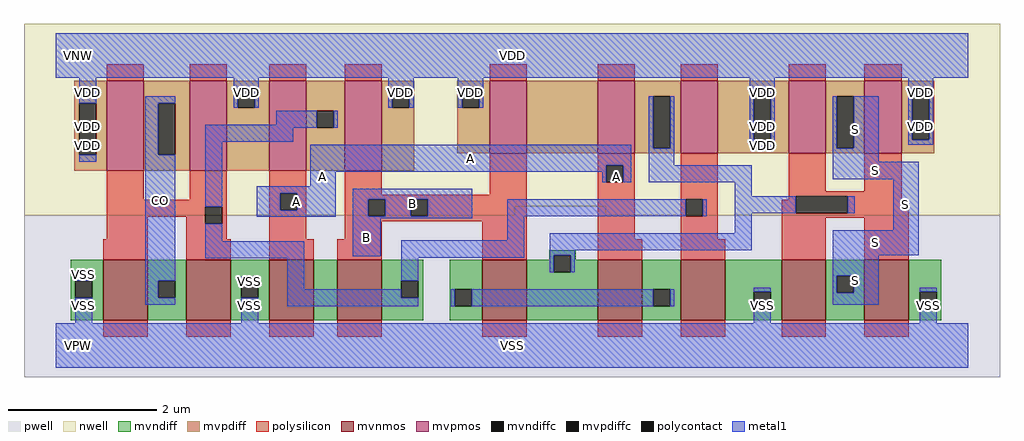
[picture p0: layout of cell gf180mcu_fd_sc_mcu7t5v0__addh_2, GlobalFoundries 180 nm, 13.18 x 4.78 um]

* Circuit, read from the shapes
.subckt gf180mcu_fd_sc_mcu7t5v0__addh_2 A B CO S VDD VNW VPW VSS
XM1 CO n1 VSS VPW nfet_06v0 w=0.815u l=0.6u m=2
XM2 n2 A VSS VPW nfet_06v0 w=0.815u l=0.6u
XM3 n1 B n2 VPW nfet_06v0 w=0.815u l=0.6u
XM4 n3 B n4 VPW nfet_06v0 w=0.815u l=0.6u
XM5 n4 A n3 VPW nfet_06v0 w=0.815u l=0.6u
XM6 VSS n1 n4 VPW nfet_06v0 w=0.815u l=0.6u
XM7 S n3 VSS VPW nfet_06v0 w=0.815u l=0.6u m=2
XM8 CO n1 VDD VNW pfet_06v0 w=1.215u l=0.5u m=2
XM9 n1 A VDD VNW pfet_06v0 w=1.215u l=0.5u
XM10 VDD B n1 VNW pfet_06v0 w=1.215u l=0.5u
XM11 n5 B VDD VNW pfet_06v0 w=0.975u l=0.5u
XM12 n3 A n5 VNW pfet_06v0 w=0.975u l=0.5u
XM13 VDD n1 n3 VNW pfet_06v0 w=0.975u l=0.5u
XM14 S n3 VDD VNW pfet_06v0 w=0.975u l=0.5u m=2
.ends

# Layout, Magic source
magic
tech gf180mcuD
magscale 1 10
<< nwell >>
rect -86 377 2550 870
rect -86 352 1240 377
rect 1485 352 2550 377
<< pwell >>
rect 1240 352 1485 377
rect -86 -86 2550 352
<< mvnmos >>
rect 128 69 248 232
rect 352 69 472 232
rect 576 69 696 232
rect 760 69 880 232
rect 1152 69 1272 232
rect 1464 69 1584 232
rect 1688 69 1808 232
rect 1960 69 2080 232
rect 2184 69 2304 232
<< mvpmos >>
rect 138 472 238 715
rect 362 472 462 715
rect 576 472 676 715
rect 780 472 880 715
rect 1172 520 1272 715
rect 1464 520 1564 715
rect 1688 520 1788 715
rect 1980 520 2080 715
rect 2184 520 2284 715
<< mvndiff >>
rect 1332 244 1404 257
rect 1332 232 1345 244
rect 40 175 128 232
rect 40 129 53 175
rect 99 129 128 175
rect 40 69 128 129
rect 248 175 352 232
rect 248 129 277 175
rect 323 129 352 175
rect 248 69 352 129
rect 472 175 576 232
rect 472 129 501 175
rect 547 129 576 175
rect 472 69 576 129
rect 696 69 760 232
rect 880 175 992 232
rect 880 129 933 175
rect 979 129 992 175
rect 880 69 992 129
rect 1064 152 1152 232
rect 1064 106 1077 152
rect 1123 106 1152 152
rect 1064 69 1152 106
rect 1272 198 1345 232
rect 1391 232 1404 244
rect 1391 198 1464 232
rect 1272 69 1464 198
rect 1584 152 1688 232
rect 1584 106 1613 152
rect 1659 106 1688 152
rect 1584 69 1688 106
rect 1808 145 1960 232
rect 1808 99 1885 145
rect 1931 99 1960 145
rect 1808 69 1960 99
rect 2080 189 2184 232
rect 2080 143 2109 189
rect 2155 143 2184 189
rect 2080 69 2184 143
rect 2304 145 2392 232
rect 2304 99 2333 145
rect 2379 99 2392 145
rect 2304 69 2392 99
<< mvpdiff >>
rect 50 655 138 715
rect 50 515 63 655
rect 109 515 138 655
rect 50 472 138 515
rect 238 655 362 715
rect 238 515 277 655
rect 323 515 362 655
rect 238 472 362 515
rect 462 689 576 715
rect 462 643 491 689
rect 537 643 576 689
rect 462 472 576 643
rect 676 634 780 715
rect 676 588 705 634
rect 751 588 780 634
rect 676 472 780 588
rect 880 689 968 715
rect 880 643 909 689
rect 955 643 968 689
rect 880 472 968 643
rect 1084 689 1172 715
rect 1084 643 1097 689
rect 1143 643 1172 689
rect 1084 520 1172 643
rect 1272 520 1464 715
rect 1564 673 1688 715
rect 1564 533 1613 673
rect 1659 533 1688 673
rect 1564 520 1688 533
rect 1788 696 1980 715
rect 1788 556 1885 696
rect 1931 556 1980 696
rect 1788 520 1980 556
rect 2080 673 2184 715
rect 2080 533 2109 673
rect 2155 533 2184 673
rect 2080 520 2184 533
rect 2284 696 2372 715
rect 2284 556 2313 696
rect 2359 556 2372 696
rect 2284 520 2372 556
<< mvndiffc >>
rect 53 129 99 175
rect 277 129 323 175
rect 501 129 547 175
rect 933 129 979 175
rect 1077 106 1123 152
rect 1345 198 1391 244
rect 1613 106 1659 152
rect 1885 99 1931 145
rect 2109 143 2155 189
rect 2333 99 2379 145
<< mvpdiffc >>
rect 63 515 109 655
rect 277 515 323 655
rect 491 643 537 689
rect 705 588 751 634
rect 909 643 955 689
rect 1097 643 1143 689
rect 1613 533 1659 673
rect 1885 556 1931 696
rect 2109 533 2155 673
rect 2313 556 2359 696
<< polysilicon >>
rect 138 715 238 760
rect 362 715 462 760
rect 576 715 676 760
rect 780 715 880 760
rect 1172 715 1272 760
rect 1464 715 1564 760
rect 1688 715 1788 760
rect 1980 715 2080 760
rect 2184 715 2284 760
rect 138 394 238 472
rect 362 394 462 472
rect 138 375 462 394
rect 138 348 403 375
rect 138 288 248 348
rect 128 232 248 288
rect 352 329 403 348
rect 449 329 462 375
rect 352 288 462 329
rect 576 411 676 472
rect 576 365 606 411
rect 652 365 676 411
rect 576 288 676 365
rect 780 408 880 472
rect 1172 408 1272 520
rect 780 395 1272 408
rect 780 349 844 395
rect 890 349 958 395
rect 1004 349 1272 395
rect 780 336 1272 349
rect 780 288 880 336
rect 352 232 472 288
rect 576 232 696 288
rect 760 232 880 288
rect 1152 232 1272 336
rect 1464 487 1564 520
rect 1464 441 1487 487
rect 1533 441 1564 487
rect 1464 288 1564 441
rect 1688 395 1788 520
rect 1688 349 1701 395
rect 1747 349 1788 395
rect 1980 417 2080 520
rect 2184 417 2284 520
rect 1980 404 2284 417
rect 1980 394 1999 404
rect 1688 288 1788 349
rect 1960 358 1999 394
rect 2139 394 2284 404
rect 2139 358 2304 394
rect 1960 345 2304 358
rect 1464 232 1584 288
rect 1688 232 1808 288
rect 1960 232 2080 345
rect 2184 232 2304 345
rect 128 24 248 69
rect 352 24 472 69
rect 576 24 696 69
rect 760 24 880 69
rect 1152 24 1272 69
rect 1464 24 1584 69
rect 1688 24 1808 69
rect 1960 24 2080 69
rect 2184 24 2304 69
<< polycontact >>
rect 403 329 449 375
rect 606 365 652 411
rect 844 349 890 395
rect 958 349 1004 395
rect 1487 441 1533 487
rect 1701 349 1747 395
rect 1999 358 2139 404
<< metal1 >>
rect 0 724 2464 844
rect 63 655 109 724
rect 480 689 548 724
rect 63 496 109 515
rect 242 655 323 674
rect 242 515 277 655
rect 480 643 491 689
rect 537 643 548 689
rect 898 689 966 724
rect 898 643 909 689
rect 955 643 966 689
rect 1086 689 1154 724
rect 1086 643 1097 689
rect 1143 643 1154 689
rect 1874 696 1942 724
rect 1602 673 1670 674
rect 595 597 705 634
rect 53 175 99 197
rect 53 60 99 129
rect 242 175 323 515
rect 403 588 705 597
rect 751 588 762 634
rect 403 551 641 588
rect 403 375 449 551
rect 687 487 1554 542
rect 687 470 1487 487
rect 687 430 756 470
rect 1476 441 1487 470
rect 1533 441 1554 487
rect 1602 533 1613 673
rect 1659 533 1670 673
rect 1874 556 1885 696
rect 1931 556 1942 696
rect 2302 696 2370 724
rect 1874 537 1942 556
rect 2098 673 2222 674
rect 1602 487 1670 533
rect 2098 533 2109 673
rect 2155 533 2222 673
rect 2302 556 2313 696
rect 2359 556 2370 696
rect 2302 542 2370 556
rect 2098 496 2222 533
rect 1602 441 1880 487
rect 2098 450 2330 496
rect 543 411 756 430
rect 543 365 606 411
rect 652 365 756 411
rect 543 348 756 365
rect 802 395 1124 424
rect 1834 404 1880 441
rect 802 349 844 395
rect 890 349 958 395
rect 1004 349 1124 395
rect 403 282 449 329
rect 802 344 1124 349
rect 1219 349 1701 395
rect 1747 349 1758 395
rect 1834 358 1999 404
rect 2139 358 2158 404
rect 403 236 671 282
rect 802 242 878 344
rect 1219 284 1265 349
rect 1834 303 1880 358
rect 2262 312 2330 450
rect 242 129 277 175
rect 242 110 323 129
rect 501 175 547 188
rect 501 60 547 129
rect 625 152 671 236
rect 933 238 1265 284
rect 1334 257 1880 303
rect 1334 244 1402 257
rect 933 175 979 238
rect 1334 198 1345 244
rect 1391 198 1402 244
rect 2098 244 2330 312
rect 625 129 933 152
rect 2098 189 2222 244
rect 625 106 979 129
rect 1066 106 1077 152
rect 1123 106 1613 152
rect 1659 106 1670 152
rect 1885 145 1931 156
rect 2098 143 2109 189
rect 2155 143 2222 189
rect 2098 110 2222 143
rect 2333 145 2379 156
rect 1885 60 1931 99
rect 2333 60 2379 99
rect 0 -60 2464 60
<< labels >>
flabel metal1 s 242 110 323 674 0 FreeSans 400 0 0 0 CO
port 3 nsew default output
flabel metal1 s 2098 496 2222 674 0 FreeSans 400 0 0 0 S
port 4 nsew default output
flabel metal1 s 0 724 2464 844 0 FreeSans 400 0 0 0 VDD
port 5 nsew power bidirectional abutment
flabel metal1 s 53 188 99 197 0 FreeSans 400 0 0 0 VSS
port 8 nsew ground bidirectional abutment
flabel metal1 s 687 470 1554 542 0 FreeSans 400 0 0 0 A
port 1 nsew default input
flabel metal1 s 802 344 1124 424 0 FreeSans 400 0 0 0 B
port 2 nsew default input
flabel nwell s 10 734 110 834 0 FreeSans 400 0 0 0 VNW
port 6 nsew power bidirectional
flabel pwell s 10 -50 110 50 0 FreeSans 400 0 0 0 VPW
port 7 nsew ground bidirectional
rlabel metal1 s 1476 441 1554 470 1 A
port 1 nsew default input
rlabel metal1 s 687 441 756 470 1 A
port 1 nsew default input
rlabel metal1 s 687 430 756 441 1 A
port 1 nsew default input
rlabel metal1 s 543 348 756 430 1 A
port 1 nsew default input
rlabel metal1 s 802 242 878 344 1 B
port 2 nsew default input
rlabel metal1 s 2098 450 2330 496 1 S
port 4 nsew default output
rlabel metal1 s 2262 312 2330 450 1 S
port 4 nsew default output
rlabel metal1 s 2098 244 2330 312 1 S
port 4 nsew default output
rlabel metal1 s 2098 110 2222 244 1 S
port 4 nsew default output
rlabel metal1 s 2302 643 2370 724 1 VDD
port 5 nsew power bidirectional abutment
rlabel metal1 s 1874 643 1942 724 1 VDD
port 5 nsew power bidirectional abutment
rlabel metal1 s 1086 643 1154 724 1 VDD
port 5 nsew power bidirectional abutment
rlabel metal1 s 898 643 966 724 1 VDD
port 5 nsew power bidirectional abutment
rlabel metal1 s 480 643 548 724 1 VDD
port 5 nsew power bidirectional abutment
rlabel metal1 s 63 643 109 724 1 VDD
port 5 nsew power bidirectional abutment
rlabel metal1 s 2302 542 2370 643 1 VDD
port 5 nsew power bidirectional abutment
rlabel metal1 s 1874 542 1942 643 1 VDD
port 5 nsew power bidirectional abutment
rlabel metal1 s 63 542 109 643 1 VDD
port 5 nsew power bidirectional abutment
rlabel metal1 s 1874 537 1942 542 1 VDD
port 5 nsew power bidirectional abutment
rlabel metal1 s 63 537 109 542 1 VDD
port 5 nsew power bidirectional abutment
rlabel metal1 s 63 496 109 537 1 VDD
port 5 nsew power bidirectional abutment
rlabel metal1 s 501 156 547 188 1 VSS
port 8 nsew ground bidirectional abutment
rlabel metal1 s 53 156 99 188 1 VSS
port 8 nsew ground bidirectional abutment
rlabel metal1 s 2333 60 2379 156 1 VSS
port 8 nsew ground bidirectional abutment
rlabel metal1 s 1885 60 1931 156 1 VSS
port 8 nsew ground bidirectional abutment
rlabel metal1 s 501 60 547 156 1 VSS
port 8 nsew ground bidirectional abutment
rlabel metal1 s 53 60 99 156 1 VSS
port 8 nsew ground bidirectional abutment
rlabel metal1 s 0 -60 2464 60 1 VSS
port 8 nsew ground bidirectional abutment
<< properties >>
string FIXED_BBOX 0 0 2464 784
string GDS_END 1200188
string GDS_FILE $PDKPATH/libs.ref/gf180mcu_fd_sc_mcu7t5v0/gds/gf180mcu_fd_sc_mcu7t5v0.gds
string GDS_START 1194332
string LEFclass core
string LEFsite GF018hv5v_mcu_sc7
string LEFsymmetry X Y
<< end >>
